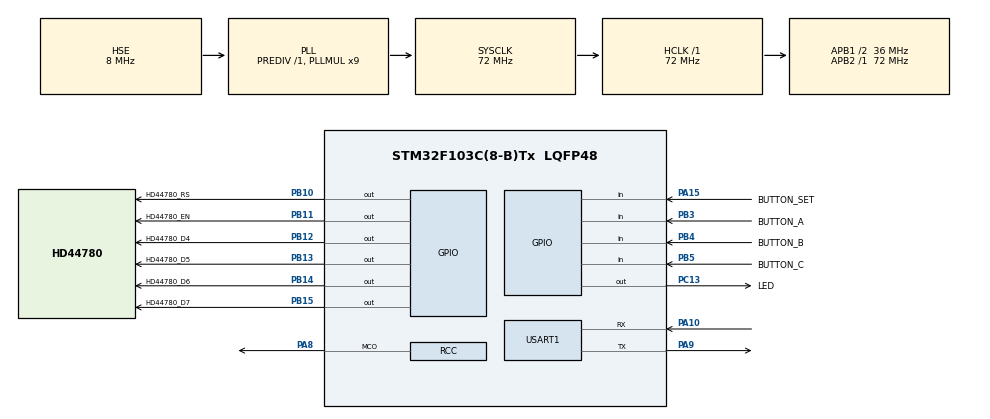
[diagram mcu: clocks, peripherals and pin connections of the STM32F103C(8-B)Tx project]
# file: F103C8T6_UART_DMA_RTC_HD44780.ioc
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Dma.Request0=USART1_TX
Dma.Request1=USART1_RX
Dma.USART1_RX.1.Direction=DMA_PERIPH_TO_MEMORY
Dma.USART1_RX.1.Instance=DMA1_Channel5
Dma.USART1_RX.1.MemDataAlignment=DMA_MDATAALIGN_BYTE
Dma.USART1_RX.1.MemInc=DMA_MINC_ENABLE
Dma.USART1_RX.1.Mode=DMA_NORMAL
Dma.USART1_RX.1.PeriphDataAlignment=DMA_PDATAALIGN_BYTE
Dma.USART1_RX.1.PeriphInc=DMA_PINC_DISABLE
Dma.USART1_RX.1.Priority=DMA_PRIORITY_LOW
Dma.USART1_TX.0.Direction=DMA_MEMORY_TO_PERIPH
Dma.USART1_TX.0.Instance=DMA1_Channel4
Dma.USART1_TX.0.MemDataAlignment=DMA_MDATAALIGN_BYTE
Dma.USART1_TX.0.MemInc=DMA_MINC_ENABLE
Dma.USART1_TX.0.Mode=DMA_NORMAL
Dma.USART1_TX.0.PeriphDataAlignment=DMA_PDATAALIGN_BYTE
Dma.USART1_TX.0.PeriphInc=DMA_PINC_DISABLE
Dma.USART1_TX.0.Priority=DMA_PRIORITY_LOW
Mcu.Family=STM32F1
Mcu.Name=STM32F103C(8-B)Tx
Mcu.Package=LQFP48
NVIC.DMA1_Channel4_IRQn=true\:0\:0\:false\:false\:true\:false
NVIC.DMA1_Channel5_IRQn=true\:0\:0\:false\:false\:true\:false
NVIC.PriorityGroup=NVIC_PRIORITYGROUP_4
NVIC.RTC_Alarm_IRQn=true\:0\:0\:false\:false\:true\:true
NVIC.RTC_IRQn=true\:0\:0\:false\:false\:true\:true
NVIC.USART1_IRQn=true\:0\:0\:false\:false\:true\:true
PA10.Mode=Asynchronous
PA10.Signal=USART1_RX
PA13.Mode=Serial_Wire
PA13.Signal=SYS_JTMS-SWDIO
PA14.Mode=Serial_Wire
PA14.Signal=SYS_JTCK-SWCLK
PA15.GPIO_Label=BUTTON_SET
PA15.GPIO_PuPd=GPIO_PULLDOWN
PA15.Signal=GPIO_Input
PA8.Mode=Clock-out
PA8.Signal=RCC_MCO
PA9.Mode=Asynchronous
PA9.Signal=USART1_TX
PB10.GPIO_Label=HD44780_RS
PB10.Signal=GPIO_Output
PB11.GPIO_Label=HD44780_EN
PB11.Signal=GPIO_Output
PB12.GPIO_Label=HD44780_D4
PB12.Signal=GPIO_Output
PB13.GPIO_Label=HD44780_D5
PB13.Signal=GPIO_Output
PB14.GPIO_Label=HD44780_D6
PB14.Signal=GPIO_Output
PB15.GPIO_Label=HD44780_D7
PB15.Signal=GPIO_Output
PB3.GPIO_Label=BUTTON_A
PB3.GPIO_PuPd=GPIO_PULLDOWN
PB3.Signal=GPIO_Input
PB4.GPIO_Label=BUTTON_B
PB4.GPIO_PuPd=GPIO_PULLDOWN
PB4.Signal=GPIO_Input
PB5.GPIO_Label=BUTTON_C
PB5.GPIO_PuPd=GPIO_PULLDOWN
PB5.Signal=GPIO_Input
PC13-TAMPER-RTC.GPIO_Label=LED
PC13-TAMPER-RTC.Signal=GPIO_Output
PD0-OSC_IN.Mode=HSE-External-Oscillator
PD0-OSC_IN.Signal=RCC_OSC_IN
PD1-OSC_OUT.Mode=HSE-External-Oscillator
PD1-OSC_OUT.Signal=RCC_OSC_OUT
ProjectManager.HeapSize=0x200
ProjectManager.StackSize=0x400
ProjectManager.TargetToolchain=MDK-ARM V5
RCC.AHBFreq_Value=72000000
RCC.APB1CLKDivider=RCC_HCLK_DIV2
RCC.APB1Freq_Value=36000000
RCC.APB1TimFreq_Value=72000000
RCC.APB2Freq_Value=72000000
RCC.APB2TimFreq_Value=72000000
RCC.HCLKFreq_Value=72000000
RCC.PLLMUL=RCC_PLL_MUL9
RCC.PLLSourceVirtual=RCC_PLLSOURCE_HSE
RCC.RCC_MCOSource=RCC_MCO1SOURCE_HSE
RCC.RTCClockSelection=RCC_RTCCLKSOURCE_HSE_DIV128
RCC.SYSCLKFreq_VALUE=72000000
RCC.SYSCLKSource=RCC_SYSCLKSOURCE_PLLCLK
RCC.USBFreq_Value=72000000
RTC.AsynchPrediv=RTC_AUTO_1_SECOND
RTC.AutoPrediv=RTC_AUTO_1_SECOND
RTC.Date=1
RTC.Format=RTC_FORMAT_BCD
RTC.Month=RTC_MONTH_JANUARY
RTC.WeekDay=RTC_WEEKDAY_MONDAY
RTC.Year=0
USART1.VirtualMode=VM_ASYNC
VP_RTC_No_RTC_Output.Mode=RTC_OUT_NO
VP_RTC_VS_RTC_Activate.Mode=RTC_Enabled
board=F103C8T6_UART_DMA_RTC_HD44780

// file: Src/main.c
/**
  ******************************************************************************
  * File Name          : main.c
  * Description        : Main program body
  ******************************************************************************
  ** This notice applies to any and all portions of this file
  * that are not between comment pairs USER CODE BEGIN and
  * USER CODE END. Other portions of this file, whether
  * inserted by the user or by software development tools
  * are owned by their respective copyright owners.
  *
  * COPYRIGHT(c) 2017 STMicroelectronics
  *
  * Redistribution and use in source and binary forms, with or without modification,
  * are permitted provided that the following conditions are met:
  *   1. Redistributions of source code must retain the above copyright notice,
  *      this list of conditions and the following disclaimer.
  *   2. Redistributions in binary form must reproduce the above copyright notice,
  *      this list of conditions and the following disclaimer in the documentation
  *      and/or other materials provided with the distribution.
  *   3. Neither the name of STMicroelectronics nor the names of its contributors
  *      may be used to endorse or promote products derived from this software
  *      without specific prior written permission.
  *
  * THIS SOFTWARE IS PROVIDED BY THE COPYRIGHT HOLDERS AND CONTRIBUTORS "AS IS"
  * AND ANY EXPRESS OR IMPLIED WARRANTIES, INCLUDING, BUT NOT LIMITED TO, THE
  * IMPLIED WARRANTIES OF MERCHANTABILITY AND FITNESS FOR A PARTICULAR PURPOSE ARE
  * DISCLAIMED. IN NO EVENT SHALL THE COPYRIGHT HOLDER OR CONTRIBUTORS BE LIABLE
  * FOR ANY DIRECT, INDIRECT, INCIDENTAL, SPECIAL, EXEMPLARY, OR CONSEQUENTIAL
  * DAMAGES (INCLUDING, BUT NOT LIMITED TO, PROCUREMENT OF SUBSTITUTE GOODS OR
  * SERVICES; LOSS OF USE, DATA, OR PROFITS; OR BUSINESS INTERRUPTION) HOWEVER
  * CAUSED AND ON ANY THEORY OF LIABILITY, WHETHER IN CONTRACT, STRICT LIABILITY,
  * OR TORT (INCLUDING NEGLIGENCE OR OTHERWISE) ARISING IN ANY WAY OUT OF THE USE
  * OF THIS SOFTWARE, EVEN IF ADVISED OF THE POSSIBILITY OF SUCH DAMAGE.
  *
  ******************************************************************************
  */

#include "main.h"
#include "stm32f1xx_hal.h"

/* USER CODE BEGIN Includes */
#include <stdbool.h>
#include "hd44780.h"
#include "string.h"
/* USER CODE END Includes */

RTC_HandleTypeDef hrtc;

UART_HandleTypeDef huart1;
DMA_HandleTypeDef hdma_usart1_tx;
DMA_HandleTypeDef hdma_usart1_rx;

/* USER CODE BEGIN PV */
/* Private variables ---------------------------------------------------------*/
RTC_TimeTypeDef clkTime;
RTC_DateTypeDef clkDate;
bool lcd_out = false;
char bufstr[10], str[25];
bool bigClock = false;
uint8_t rtcSec = 0;
uint8_t rtcMin = 0;
uint8_t rtcHrs = 0;
uint8_t rtcSetSec = 0;
uint8_t rtcSetMin = 0;
uint8_t rtcSetHrs = 21;

uint8_t decToBcd(uint8_t val) {
	return ((val / 10 * 16) + (val % 10));
}

uint8_t bcdToDec(uint8_t val) {
	return ((val / 16 * 10) + (val % 16));
}

/* USER CODE END PV */

void SystemClock_Config(void);
static void MX_GPIO_Init(void);
static void MX_DMA_Init(void);
static void MX_USART1_UART_Init(void);
static void MX_RTC_Init(void);

/* USER CODE BEGIN PFP */
/* Private function prototypes -----------------------------------------------*/

/* USER CODE END PFP */

/* USER CODE BEGIN 0 */
void viewBigClock() {

	drawBigDigits(rtcHrs / 10, 0);
	drawBigDigits(rtcHrs % 10, 4);
	drawBigDigits(rtcMin / 10, 9);
	drawBigDigits(rtcMin % 10, 13);

	if (rtcSec % 10 % 2 == 0) {
		HD44780_SetPos(0, 7);
		HD44780_String("+ ");
		HD44780_SetPos(1, 7);
		HD44780_String(" +");
		HD44780_SetPos(1, 3);
		HD44780_String("+");
		HD44780_SetPos(0, 12);
		HD44780_String("+");
		HD44780_SetPos(0, 3);
		HD44780_String(" ");
		HD44780_SetPos(1, 12);
		HD44780_String(" ");
	}
	else {
		HD44780_SetPos(0, 7);
		HD44780_String(" +");
		HD44780_SetPos(1, 7);
		HD44780_String("+ ");
		HD44780_SetPos(0, 3);
		HD44780_String("+");
		HD44780_SetPos(1, 12);
		HD44780_String("+");
		HD44780_SetPos(1, 3);
		HD44780_String(" ");
		HD44780_SetPos(0, 12);
		HD44780_String(" ");
	}
}
/* USER CODE END 0 */

int main(void)
{

  /* USER CODE BEGIN 1 */
	char str[16] = {0};
  /* USER CODE END 1 */

  /* MCU Configuration----------------------------------------------------------*/

  /* Reset of all peripherals, Initializes the Flash interface and the Systick. */
  HAL_Init();

  /* Configure the system clock */
  SystemClock_Config();

  /* Initialize all configured peripherals */
  MX_GPIO_Init();
  MX_DMA_Init();
  MX_USART1_UART_Init();
  MX_RTC_Init();

  /* USER CODE BEGIN 2 */
	HAL_RTC_Init(&hrtc);
	HAL_RTCEx_SetSecond_IT(&hrtc);

	uint8_t uartTransmit[] = "USART OK\r\n";
	HAL_UART_Transmit_DMA(&huart1, uartTransmit, sizeof(str));

	HD44780_Init();
	HD44780_Clear();
	HD44780_SetPos(0, 0);
	HD44780_String("*** STRING 0 ***");
	HD44780_SetPos(1, 0);
	HD44780_String("*** STRING 1 ***");
	HAL_Delay(1000);
	HD44780_Clear();

  /* USER CODE END 2 */

  /* Infinite loop */
  /* USER CODE BEGIN WHILE */
  while (1)
  {
		if(hdma_usart1_rx.State == HAL_DMA_STATE_READY)
		{
		HAL_UART_Receive_DMA(&huart1, (uint8_t*) str, sizeof(str));
		hdma_usart1_rx.State = HAL_DMA_STATE_BUSY;
		HD44780_SetPos(0, 0);
		HD44780_String(str);
		HAL_Delay(2000);
		HD44780_Clear();
		HD44780_SetPos(0, 0);
		}

  /* USER CODE END WHILE */

  /* USER CODE BEGIN 3 */
		if (lcd_out)
		{
			lcd_out = false;

			HAL_RTC_GetTime(&hrtc, &clkTime, RTC_FORMAT_BCD);
			rtcSec = bcdToDec(clkTime.Seconds);
			rtcMin = bcdToDec(clkTime.Minutes);
			rtcHrs = bcdToDec(clkTime.Hours);
			if(!bigClock)
			{
			sprintf(str, "%.2x:", clkTime.Hours);
			sprintf(bufstr, "%.2x:", clkTime.Minutes);
			strcat(str, bufstr);
			sprintf(bufstr, "%.2x", clkTime.Seconds);
			strcat(str, bufstr);
			HD44780_SetPos(0, 0);
			HD44780_String(str);
			str[0] = 0;
			}
			else
			{
			viewBigClock();
			}
		}

		if(HAL_GPIO_ReadPin(GPIOB, GPIO_PIN_3) == GPIO_PIN_SET)
		{
			if(bigClock)
			{
			bigClock = false;
			}
			else
			{
				bigClock = true;
			}
			HD44780_Clear();
			HAL_Delay(500);
		}

		if(HAL_GPIO_ReadPin(GPIOB, GPIO_PIN_4) == GPIO_PIN_SET)
		{
			clkTime.Hours = clkTime.Hours++;
			HAL_RTC_SetTime(&hrtc, &clkTime, RTC_FORMAT_BCD);
			HAL_Delay(500);
		}

		if(HAL_GPIO_ReadPin(GPIOB, GPIO_PIN_5) == GPIO_PIN_SET)
		{
		clkTime.Minutes = clkTime.Minutes++;
		clkTime.Seconds = 0x00;
		HAL_RTC_SetTime(&hrtc, &clkTime, RTC_FORMAT_BCD);
		HAL_Delay(500);
		}

		if(HAL_GPIO_ReadPin(GPIOA, GPIO_PIN_15) == GPIO_PIN_SET)
		{
		clkTime.Hours = decToBcd(rtcSetHrs);
		clkTime.Minutes = decToBcd(rtcSetMin);
		clkTime.Seconds = decToBcd(rtcSetSec);

		HAL_RTC_SetTime(&hrtc, &clkTime, RTC_FORMAT_BCD);
		HAL_Delay(300);
		}

  }
  /* USER CODE END 3 */

}

/** System Clock Configuration
*/
void SystemClock_Config(void)
{

  RCC_OscInitTypeDef RCC_OscInitStruct;
  RCC_ClkInitTypeDef RCC_ClkInitStruct;
  RCC_PeriphCLKInitTypeDef PeriphClkInit;

    /**Initializes the CPU, AHB and APB busses clocks
    */
  RCC_OscInitStruct.OscillatorType = RCC_OSCILLATORTYPE_HSE;
  RCC_OscInitStruct.HSEState = RCC_HSE_ON;
  RCC_OscInitStruct.HSEPredivValue = RCC_HSE_PREDIV_DIV1;
  RCC_OscInitStruct.HSIState = RCC_HSI_ON;
  RCC_OscInitStruct.PLL.PLLState = RCC_PLL_ON;
  RCC_OscInitStruct.PLL.PLLSource = RCC_PLLSOURCE_HSE;
  RCC_OscInitStruct.PLL.PLLMUL = RCC_PLL_MUL9;
  if (HAL_RCC_OscConfig(&RCC_OscInitStruct) != HAL_OK)
  {
    _Error_Handler(__FILE__, __LINE__);
  }

    /**Initializes the CPU, AHB and APB busses clocks
    */
  RCC_ClkInitStruct.ClockType = RCC_CLOCKTYPE_HCLK|RCC_CLOCKTYPE_SYSCLK
                              |RCC_CLOCKTYPE_PCLK1|RCC_CLOCKTYPE_PCLK2;
  RCC_ClkInitStruct.SYSCLKSource = RCC_SYSCLKSOURCE_PLLCLK;
  RCC_ClkInitStruct.AHBCLKDivider = RCC_SYSCLK_DIV1;
  RCC_ClkInitStruct.APB1CLKDivider = RCC_HCLK_DIV2;
  RCC_ClkInitStruct.APB2CLKDivider = RCC_HCLK_DIV1;

  if (HAL_RCC_ClockConfig(&RCC_ClkInitStruct, FLASH_LATENCY_2) != HAL_OK)
  {
    _Error_Handler(__FILE__, __LINE__);
  }

  PeriphClkInit.PeriphClockSelection = RCC_PERIPHCLK_RTC;
  PeriphClkInit.RTCClockSelection = RCC_RTCCLKSOURCE_HSE_DIV128;
  if (HAL_RCCEx_PeriphCLKConfig(&PeriphClkInit) != HAL_OK)
  {
    _Error_Handler(__FILE__, __LINE__);
  }

  HAL_RCC_MCOConfig(RCC_MCO, RCC_MCO1SOURCE_HSE, RCC_MCODIV_1);

    /**Configure the Systick interrupt time
    */
  HAL_SYSTICK_Config(HAL_RCC_GetHCLKFreq()/1000);

    /**Configure the Systick
    */
  HAL_SYSTICK_CLKSourceConfig(SYSTICK_CLKSOURCE_HCLK);

  /* SysTick_IRQn interrupt configuration */
  HAL_NVIC_SetPriority(SysTick_IRQn, 0, 0);
}

/* RTC init function */
static void MX_RTC_Init(void)
{

  RTC_TimeTypeDef sTime;
  RTC_DateTypeDef DateToUpdate;

    /**Initialize RTC Only
    */
  hrtc.Instance = RTC;
  hrtc.Init.AsynchPrediv = RTC_AUTO_1_SECOND;
  hrtc.Init.OutPut = RTC_OUTPUTSOURCE_NONE;
  if (HAL_RTC_Init(&hrtc) != HAL_OK)
  {
    _Error_Handler(__FILE__, __LINE__);
  }

    /**Initialize RTC and set the Time and Date
    */
  if(HAL_RTCEx_BKUPRead(&hrtc, RTC_BKP_DR1) != 0x32F2){
  sTime.Hours = 0x1;
  sTime.Minutes = 0x0;
  sTime.Seconds = 0x0;

  if (HAL_RTC_SetTime(&hrtc, &sTime, RTC_FORMAT_BCD) != HAL_OK)
  {
    _Error_Handler(__FILE__, __LINE__);
  }

  DateToUpdate.WeekDay = RTC_WEEKDAY_MONDAY;
  DateToUpdate.Month = RTC_MONTH_JANUARY;
  DateToUpdate.Date = 0x1;
  DateToUpdate.Year = 0x0;

  if (HAL_RTC_SetDate(&hrtc, &DateToUpdate, RTC_FORMAT_BCD) != HAL_OK)
  {
    _Error_Handler(__FILE__, __LINE__);
  }

    HAL_RTCEx_BKUPWrite(&hrtc,RTC_BKP_DR1,0x32F2);
  }

}

/* USART1 init function */
static void MX_USART1_UART_Init(void)
{

  huart1.Instance = USART1;
  huart1.Init.BaudRate = 115200;
  huart1.Init.WordLength = UART_WORDLENGTH_8B;
  huart1.Init.StopBits = UART_STOPBITS_1;
  huart1.Init.Parity = UART_PARITY_NONE;
  huart1.Init.Mode = UART_MODE_TX_RX;
  huart1.Init.HwFlowCtl = UART_HWCONTROL_NONE;
  huart1.Init.OverSampling = UART_OVERSAMPLING_16;
  if (HAL_UART_Init(&huart1) != HAL_OK)
  {
    _Error_Handler(__FILE__, __LINE__);
  }

}

static void MX_DMA_Init(void)
{
  /* DMA controller clock enable */
  __HAL_RCC_DMA1_CLK_ENABLE();

  /* DMA interrupt init */
  /* DMA1_Channel4_IRQn interrupt configuration */
  HAL_NVIC_SetPriority(DMA1_Channel4_IRQn, 0, 0);
  HAL_NVIC_EnableIRQ(DMA1_Channel4_IRQn);
  /* DMA1_Channel5_IRQn interrupt configuration */
  HAL_NVIC_SetPriority(DMA1_Channel5_IRQn, 0, 0);
  HAL_NVIC_EnableIRQ(DMA1_Channel5_IRQn);

}

/** Configure pins as
        * Analog
        * Input
        * Output
        * EVENT_OUT
        * EXTI
     PA8   ------> RCC_MCO
*/
static void MX_GPIO_Init(void)
{

  GPIO_InitTypeDef GPIO_InitStruct;

  /* GPIO Ports Clock Enable */
  __HAL_RCC_GPIOC_CLK_ENABLE();
  __HAL_RCC_GPIOD_CLK_ENABLE();
  __HAL_RCC_GPIOB_CLK_ENABLE();
  __HAL_RCC_GPIOA_CLK_ENABLE();

  /*Configure GPIO pin Output Level */
  HAL_GPIO_WritePin(LED_GPIO_Port, LED_Pin, GPIO_PIN_RESET);

  /*Configure GPIO pin Output Level */
  HAL_GPIO_WritePin(GPIOB, HD44780_RS_Pin|HD44780_EN_Pin|HD44780_D4_Pin|HD44780_D5_Pin
                          |HD44780_D6_Pin|HD44780_D7_Pin, GPIO_PIN_RESET);

  /*Configure GPIO pin : LED_Pin */
  GPIO_InitStruct.Pin = LED_Pin;
  GPIO_InitStruct.Mode = GPIO_MODE_OUTPUT_PP;
  GPIO_InitStruct.Speed = GPIO_SPEED_FREQ_LOW;
  HAL_GPIO_Init(LED_GPIO_Port, &GPIO_InitStruct);

  /*Configure GPIO pins : HD44780_RS_Pin HD44780_EN_Pin HD44780_D4_Pin HD44780_D5_Pin
                           HD44780_D6_Pin HD44780_D7_Pin */
  GPIO_InitStruct.Pin = HD44780_RS_Pin|HD44780_EN_Pin|HD44780_D4_Pin|HD44780_D5_Pin
                          |HD44780_D6_Pin|HD44780_D7_Pin;
  GPIO_InitStruct.Mode = GPIO_MODE_OUTPUT_PP;
  GPIO_InitStruct.Speed = GPIO_SPEED_FREQ_LOW;
  HAL_GPIO_Init(GPIOB, &GPIO_InitStruct);

  /*Configure GPIO pin : PA8 */
  GPIO_InitStruct.Pin = GPIO_PIN_8;
  GPIO_InitStruct.Mode = GPIO_MODE_AF_PP;
  GPIO_InitStruct.Speed = GPIO_SPEED_FREQ_LOW;
  HAL_GPIO_Init(GPIOA, &GPIO_InitStruct);

  /*Configure GPIO pin : BUTTON_SET_Pin */
  GPIO_InitStruct.Pin = BUTTON_SET_Pin;
  GPIO_InitStruct.Mode = GPIO_MODE_INPUT;
  GPIO_InitStruct.Pull = GPIO_PULLDOWN;
  HAL_GPIO_Init(BUTTON_SET_GPIO_Port, &GPIO_InitStruct);

  /*Configure GPIO pins : BUTTON_A_Pin BUTTON_B_Pin BUTTON_C_Pin */
  GPIO_InitStruct.Pin = BUTTON_A_Pin|BUTTON_B_Pin|BUTTON_C_Pin;
  GPIO_InitStruct.Mode = GPIO_MODE_INPUT;
  GPIO_InitStruct.Pull = GPIO_PULLDOWN;
  HAL_GPIO_Init(GPIOB, &GPIO_InitStruct);

}

void _Error_Handler(char * file, int line)
{
  while(1)
  {
  }
}

/************************ (C) COPYRIGHT STMicroelectronics *****END OF FILE****/
